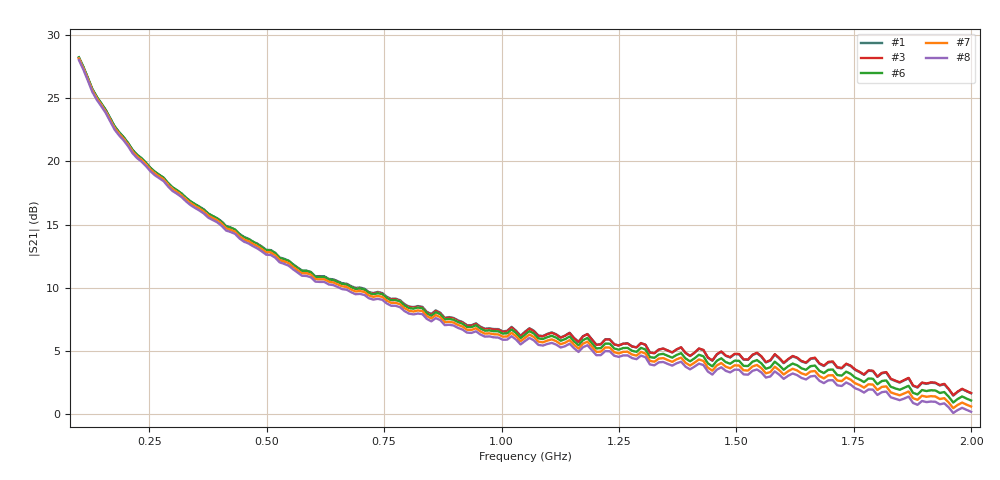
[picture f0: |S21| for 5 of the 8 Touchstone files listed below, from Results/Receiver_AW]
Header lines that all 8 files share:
!Keysight Technologies,N5242B,MY48420967,A.15.65.19
!Correction: S11(C  1-Port  )
!S21(Off)
!S12(Off)
!S22(Off)
!S2P File: Measurements: S11, S21, S12, S22:
# Hz S  dB  R 50
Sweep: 100 MHz to 2 GHz
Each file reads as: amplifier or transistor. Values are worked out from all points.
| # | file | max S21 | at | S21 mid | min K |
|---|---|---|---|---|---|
| 1 | S-ParamMeas20k_Receiver_AW.s2p | 28.2 dB | 100 MHz | 6.5 dB at 1.05 GHz | 1.20 |
| 2 | S-ParamMeas25k_Receiver_AW.s2p | 28.2 dB | 100 MHz | 6.5 dB at 1.05 GHz | 1.20 |
| 3 | S-ParamMeas30k_Receiver_AW.s2p | 28.1 dB | 100 MHz | 6.5 dB at 1.05 GHz | 1.20 |
| 4 | S-ParamMeas77k_Receiver_AW.s2p | 28.2 dB | 100 MHz | 6.5 dB at 1.05 GHz | 1.20 |
| 5 | S-ParamMeas100k_Receiver_AW.s2p | 28.2 dB | 100 MHz | 6.5 dB at 1.05 GHz | 1.20 |
| 6 | S-ParamMeas200k_Receiver_AW.s2p | 28.2 dB | 100 MHz | 6.3 dB at 1.05 GHz | 1.22 |
| 7 | S-ParamMeas250k_Receiver_AW.s2p | 28.1 dB | 100 MHz | 6.0 dB at 1.05 GHz | 1.23 |
| 8 | S-ParamMeas290k_Receiver_AW.s2p | 28.0 dB | 100 MHz | 5.8 dB at 1.05 GHz | 1.25 |
